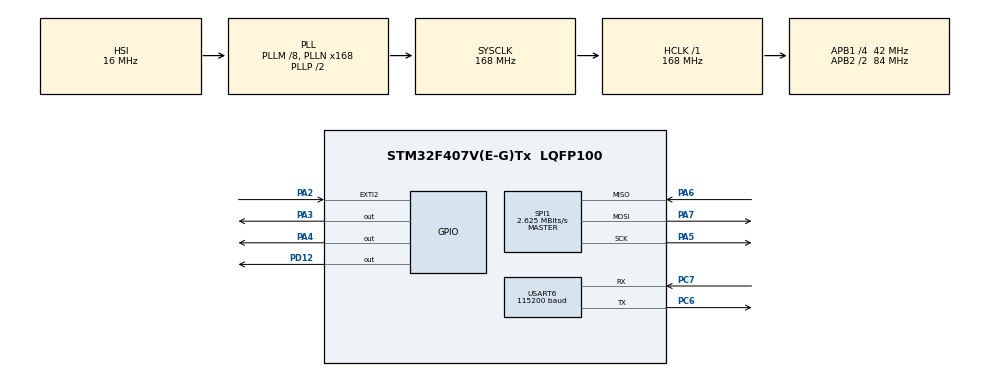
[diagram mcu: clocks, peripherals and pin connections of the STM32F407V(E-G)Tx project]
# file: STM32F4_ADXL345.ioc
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IWDG.Prescaler=IWDG_PRESCALER_128
Mcu.Family=STM32F4
Mcu.Name=STM32F407V(E-G)Tx
Mcu.Package=LQFP100
NVIC.EXTI2_IRQn=true\:0\:0\:false\:false\:true\:true\:true
NVIC.PriorityGroup=NVIC_PRIORITYGROUP_4
PA2.GPIO_PuPd=GPIO_PULLUP
PA2.Signal=GPXTI2
PA3.GPIO_PuPd=GPIO_PULLUP
PA3.Signal=GPIO_Output
PA4.GPIO_PuPd=GPIO_PULLUP
PA4.Signal=GPIO_Output
PA5.GPIO_PuPd=GPIO_PULLUP
PA5.Mode=Full_Duplex_Master
PA5.Signal=SPI1_SCK
PA6.GPIO_PuPd=GPIO_PULLUP
PA6.Mode=Full_Duplex_Master
PA6.Signal=SPI1_MISO
PA7.GPIO_PuPd=GPIO_PULLUP
PA7.Mode=Full_Duplex_Master
PA7.Signal=SPI1_MOSI
PC6.Mode=Asynchronous
PC6.Signal=USART6_TX
PC7.Mode=Asynchronous
PC7.Signal=USART6_RX
PD12.GPIO_PuPd=GPIO_PULLUP
PD12.Signal=GPIO_Output
ProjectManager.HeapSize=0x200
ProjectManager.StackSize=0x400
ProjectManager.TargetToolchain=STM32CubeIDE
RCC.48MHZClocksFreq_Value=84000000
RCC.AHBFreq_Value=168000000
RCC.APB1CLKDivider=RCC_HCLK_DIV4
RCC.APB1Freq_Value=42000000
RCC.APB1TimFreq_Value=84000000
RCC.APB2CLKDivider=RCC_HCLK_DIV2
RCC.APB2Freq_Value=84000000
RCC.APB2TimFreq_Value=168000000
RCC.CortexFreq_Value=168000000
RCC.HCLKFreq_Value=168000000
RCC.HSE_VALUE=25000000
RCC.HSI_VALUE=16000000
RCC.LSE_VALUE=32768
RCC.PLLM=8
RCC.PLLN=168
RCC.SYSCLKFreq_VALUE=168000000
RCC.SYSCLKSource=RCC_SYSCLKSOURCE_PLLCLK
RCC.VCOOutputFreq_Value=336000000
SPI1.BaudRatePrescaler=SPI_BAUDRATEPRESCALER_32
SPI1.CLKPhase=SPI_PHASE_2EDGE
SPI1.CLKPolarity=SPI_POLARITY_HIGH
SPI1.CalculateBaudRate=2.625 MBits/s
SPI1.Direction=SPI_DIRECTION_2LINES
SPI1.Mode=SPI_MODE_MASTER
SPI1.VirtualType=VM_MASTER
USART6.BaudRate=115200
USART6.VirtualMode=VM_ASYNC
VP_IWDG_VS_IWDG.Mode=IWDG_Activate
board=custom

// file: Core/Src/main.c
/* USER CODE BEGIN Header */
/**
  ******************************************************************************
  * @file           : main.c
  * @brief          : Main program body
  ******************************************************************************
  * @attention
  *
  * <h2><center>&copy; Copyright (c) 2020 STMicroelectronics.
  * All rights reserved.</center></h2>
  *
  * This software component is licensed by ST under BSD 3-Clause license,
  * the "License"; You may not use this file except in compliance with the
  * License. You may obtain a copy of the License at:
  *                        opensource.org/licenses/BSD-3-Clause
  *
  ******************************************************************************
  */
/* USER CODE END Header */

#include "main.h"

/* USER CODE BEGIN Includes */
#include "ADXL.h"
#include "arm_const_structs.h"
#include "arm_math.h"
#include "Calculate_statistic.h"
#include "BLE_USART.h"
/* USER CODE END Includes */

/* USER CODE BEGIN PD */
#define dataLength 4096
#define FFT_Frequency_Scale 3200/(dataLength/2)
/* USER CODE END PD */

IWDG_HandleTypeDef hiwdg;

SPI_HandleTypeDef hspi1;

UART_HandleTypeDef huart6;

/* USER CODE BEGIN PV */

typedef struct FFTInstance
{
	float32_t bufferforFFT[dataLength];
	float32_t bufferforTimeSV[dataLength/2];
	uint16_t data0;
	uint16_t data1;
	int16_t acceleration;
	float32_t accelerationfloat;

}fftInstance;

fftInstance XfftInstance;
fftInstance YfftInstance;
fftInstance ZfftInstance;

uint8_t ADXLid = 0;

uint8_t data[6]={0,0,0,0,0,0};

GPIO_PinState pin3status;

int16_t sampleIndex = 0;
int16_t sampleCount = 0;
int16_t whilesampleCount = 0;

uint8_t dataReady = 0;

uint32_t ifftFlag = 0;
uint32_t doBitReverse = 1;
float32_t testOutput[dataLength/2];
int32_t fftSize = 2048;
float32_t maxValue = 0;
uint32_t testIndex = 0;

float32_t *ZstatisticDataSet = ZfftInstance.bufferforTimeSV;
float32_t *XstatisticDataSet = XfftInstance.bufferforTimeSV;
float32_t *YstatisticDataSet = YfftInstance.bufferforTimeSV;

// Bluetooth structure
USART_BLE USARTBLE;

/* USER CODE END PV */

void SystemClock_Config(void);
static void MX_GPIO_Init(void);
static void MX_SPI1_Init(void);
static void MX_USART6_UART_Init(void);
static void MX_IWDG_Init(void);
/* USER CODE BEGIN PFP */

typedef enum {true,false} dataReadyFlag;
/* USER CODE END PFP */

int main(void)
{

  /* MCU Configuration--------------------------------------------------------*/

  /* Reset of all peripherals, Initializes the Flash interface and the Systick. */
  HAL_Init();

  /* Configure the system clock */
  SystemClock_Config();

  /* Initialize all configured peripherals */
  MX_GPIO_Init();
  MX_SPI1_Init();
  MX_USART6_UART_Init();
  MX_IWDG_Init();
  /* USER CODE BEGIN 2 */
  delay_init(168);

  ADXL_InitTypeDef adxl_config;
  adxl_config.Range = RANGE_16G;
  adxl_config.Resolution = RESOLUTION_FULL;
  adxl_config.AutoSleep = AUTOSLEEPOFF;
  adxl_config.LPMode = LPMODE_LOWPOWER;
  adxl_config.Rate = BWRATE_3200;
  adxl_config.SPIMode = SPIMODE_4WIRE;
  adxl_config.IntMode = INT_ACTIVEHIGH;

  adxlStatus InitStatus = ADXL_Init(&adxl_config, &ADXLid);
  if(ADXLid == 0xE5)InitStatus = ADXL_OK;
  if(InitStatus == ADXL_OK)
  {
	  __NOP();

  }

  ADXL_Measure(ON);
  writeRegister(INT_MAP, 0x10);
  writeRegister(INT_ENABLE, 0x80);

  /* USER CODE END 2 */

  /* Infinite loop */
  while (1)
  {

    /* USER CODE BEGIN 3 */
    ADXL_IntProto();
    readRegister(DATA0,data,6);
    if(dataReady == true)
    {

    	readRegister(DATA0,data,6);
    	XfftInstance.data0 = data[0];
    	XfftInstance.data1 = data[1];
    	YfftInstance.data0 = data[2];
    	YfftInstance.data1 = data[3];
    	ZfftInstance.data0 = data[4];
    	ZfftInstance.data1 = data[5];
    	XfftInstance.acceleration = ((uint8_t)XfftInstance.data1<<8)|(uint8_t)XfftInstance.data0;
    	YfftInstance.acceleration = ((uint8_t)YfftInstance.data1<<8)|(uint8_t)YfftInstance.data0;
    	ZfftInstance.acceleration = ((uint8_t)ZfftInstance.data1<<8)|(uint8_t)ZfftInstance.data0;

    	//3.9 is scale of LSB(one bit) mg, 1000 is scale to g
    	XfftInstance.accelerationfloat = (float)XfftInstance.acceleration * 3.9 / 1000;
    	YfftInstance.accelerationfloat = (float)YfftInstance.acceleration  * 3.9 / 1000;
    	ZfftInstance.accelerationfloat = (float)ZfftInstance.acceleration  * 3.9 / 1000;

    	// move X axis data to buffer
    	XfftInstance.bufferforFFT[sampleIndex * 2] = XfftInstance.accelerationfloat;
    	XfftInstance.bufferforFFT[sampleIndex * 2+1] = 0;
    	XfftInstance.bufferforTimeSV[sampleIndex] = XfftInstance.accelerationfloat;

    	// move Y axis data to buffer
    	YfftInstance.bufferforFFT[sampleIndex * 2] = YfftInstance.accelerationfloat;
    	YfftInstance.bufferforFFT[sampleIndex * 2+1] = 0;
    	YfftInstance.bufferforTimeSV[sampleIndex] = YfftInstance.accelerationfloat;

    	// move Z axis data to buffer
    	ZfftInstance.bufferforFFT[sampleIndex * 2] = ZfftInstance.accelerationfloat;
    	ZfftInstance.bufferforFFT[sampleIndex * 2+1] = 0;
    	ZfftInstance.bufferforTimeSV[sampleIndex] = ZfftInstance.accelerationfloat;

		sampleIndex++;
    	if(sampleIndex == dataLength/2)
		{
    		HAL_GPIO_WritePin(GPIOD, GPIO_PIN_12, GPIO_PIN_SET);
    		//Calculate Z axis statistic
    		Calculate_FFT_RMS(ZfftInstance.bufferforFFT, testOutput, fftSize, &Zstatistic_value);
			Calculate_All_statisitc(ZstatisticDataSet, dataLength/2, &Zstatistic_value);

			//Calculate X axis statistic
    		Calculate_FFT_RMS(XfftInstance.bufferforFFT, testOutput, fftSize, &Xstatistic_value);
			Calculate_All_statisitc(XstatisticDataSet, dataLength/2, &Xstatistic_value);

			//Calculate Y axis statistic
    		Calculate_FFT_RMS(YfftInstance.bufferforFFT , testOutput, fftSize, &Ystatistic_value);
			Calculate_All_statisitc(YstatisticDataSet, dataLength/2, &Ystatistic_value);

			//Data transmission by uart
    		sampleIndex = 0;
    		USARTBLE.sendflag =1;
    		BLE_USART(&huart6, &Zstatistic_value);
    		HAL_GPIO_WritePin(GPIOD, GPIO_PIN_12, GPIO_PIN_RESET);
    		HAL_IWDG_Refresh(&hiwdg);
		}
    	dataReady = false;

    }

    //__NOP();
	  //ADXL_getAccel(data, OUTPUT_FLOAT);
  }
  /* USER CODE END 3 */
}

void SystemClock_Config(void)
{
  RCC_OscInitTypeDef RCC_OscInitStruct = {0};
  RCC_ClkInitTypeDef RCC_ClkInitStruct = {0};

  /** Configure the main internal regulator output voltage
  */
  __HAL_RCC_PWR_CLK_ENABLE();
  __HAL_PWR_VOLTAGESCALING_CONFIG(PWR_REGULATOR_VOLTAGE_SCALE1);
  /** Initializes the CPU, AHB and APB busses clocks
  */
  RCC_OscInitStruct.OscillatorType = RCC_OSCILLATORTYPE_HSI|RCC_OSCILLATORTYPE_LSI;
  RCC_OscInitStruct.HSIState = RCC_HSI_ON;
  RCC_OscInitStruct.HSICalibrationValue = RCC_HSICALIBRATION_DEFAULT;
  RCC_OscInitStruct.LSIState = RCC_LSI_ON;
  RCC_OscInitStruct.PLL.PLLState = RCC_PLL_ON;
  RCC_OscInitStruct.PLL.PLLSource = RCC_PLLSOURCE_HSI;
  RCC_OscInitStruct.PLL.PLLM = 8;
  RCC_OscInitStruct.PLL.PLLN = 168;
  RCC_OscInitStruct.PLL.PLLP = RCC_PLLP_DIV2;
  RCC_OscInitStruct.PLL.PLLQ = 4;
  if (HAL_RCC_OscConfig(&RCC_OscInitStruct) != HAL_OK)
  {
    Error_Handler();
  }
  /** Initializes the CPU, AHB and APB busses clocks
  */
  RCC_ClkInitStruct.ClockType = RCC_CLOCKTYPE_HCLK|RCC_CLOCKTYPE_SYSCLK
                              |RCC_CLOCKTYPE_PCLK1|RCC_CLOCKTYPE_PCLK2;
  RCC_ClkInitStruct.SYSCLKSource = RCC_SYSCLKSOURCE_PLLCLK;
  RCC_ClkInitStruct.AHBCLKDivider = RCC_SYSCLK_DIV1;
  RCC_ClkInitStruct.APB1CLKDivider = RCC_HCLK_DIV4;
  RCC_ClkInitStruct.APB2CLKDivider = RCC_HCLK_DIV2;

  if (HAL_RCC_ClockConfig(&RCC_ClkInitStruct, FLASH_LATENCY_5) != HAL_OK)
  {
    Error_Handler();
  }
}

static void MX_IWDG_Init(void)
{

  hiwdg.Instance = IWDG;
  hiwdg.Init.Prescaler = IWDG_PRESCALER_128;
  hiwdg.Init.Reload = 4095;
  if (HAL_IWDG_Init(&hiwdg) != HAL_OK)
  {
    Error_Handler();
  }

}

static void MX_SPI1_Init(void)
{

  /* SPI1 parameter configuration*/
  hspi1.Instance = SPI1;
  hspi1.Init.Mode = SPI_MODE_MASTER;
  hspi1.Init.Direction = SPI_DIRECTION_2LINES;
  hspi1.Init.DataSize = SPI_DATASIZE_8BIT;
  hspi1.Init.CLKPolarity = SPI_POLARITY_HIGH;
  hspi1.Init.CLKPhase = SPI_PHASE_2EDGE;
  hspi1.Init.NSS = SPI_NSS_SOFT;
  hspi1.Init.BaudRatePrescaler = SPI_BAUDRATEPRESCALER_32;
  hspi1.Init.FirstBit = SPI_FIRSTBIT_MSB;
  hspi1.Init.TIMode = SPI_TIMODE_DISABLE;
  hspi1.Init.CRCCalculation = SPI_CRCCALCULATION_DISABLE;
  hspi1.Init.CRCPolynomial = 10;
  if (HAL_SPI_Init(&hspi1) != HAL_OK)
  {
    Error_Handler();
  }

}

static void MX_USART6_UART_Init(void)
{

  huart6.Instance = USART6;
  huart6.Init.BaudRate = 115200;
  huart6.Init.WordLength = UART_WORDLENGTH_8B;
  huart6.Init.StopBits = UART_STOPBITS_1;
  huart6.Init.Parity = UART_PARITY_NONE;
  huart6.Init.Mode = UART_MODE_TX_RX;
  huart6.Init.HwFlowCtl = UART_HWCONTROL_NONE;
  huart6.Init.OverSampling = UART_OVERSAMPLING_16;
  if (HAL_UART_Init(&huart6) != HAL_OK)
  {
    Error_Handler();
  }

}

static void MX_GPIO_Init(void)
{
  GPIO_InitTypeDef GPIO_InitStruct = {0};

  /* GPIO Ports Clock Enable */
  __HAL_RCC_GPIOA_CLK_ENABLE();
  __HAL_RCC_GPIOD_CLK_ENABLE();
  __HAL_RCC_GPIOC_CLK_ENABLE();

  /*Configure GPIO pin Output Level */
  HAL_GPIO_WritePin(GPIOA, GPIO_PIN_3|GPIO_PIN_4, GPIO_PIN_RESET);

  /*Configure GPIO pin Output Level */
  HAL_GPIO_WritePin(GPIOD, GPIO_PIN_12, GPIO_PIN_RESET);

  /*Configure GPIO pin : PA2 */
  GPIO_InitStruct.Pin = GPIO_PIN_2;
  GPIO_InitStruct.Mode = GPIO_MODE_IT_RISING;
  GPIO_InitStruct.Pull = GPIO_PULLUP;
  HAL_GPIO_Init(GPIOA, &GPIO_InitStruct);

  /*Configure GPIO pins : PA3 PA4 */
  GPIO_InitStruct.Pin = GPIO_PIN_3|GPIO_PIN_4;
  GPIO_InitStruct.Mode = GPIO_MODE_OUTPUT_PP;
  GPIO_InitStruct.Pull = GPIO_PULLUP;
  GPIO_InitStruct.Speed = GPIO_SPEED_FREQ_LOW;
  HAL_GPIO_Init(GPIOA, &GPIO_InitStruct);

  /*Configure GPIO pin : PD12 */
  GPIO_InitStruct.Pin = GPIO_PIN_12;
  GPIO_InitStruct.Mode = GPIO_MODE_OUTPUT_PP;
  GPIO_InitStruct.Pull = GPIO_PULLUP;
  GPIO_InitStruct.Speed = GPIO_SPEED_FREQ_LOW;
  HAL_GPIO_Init(GPIOD, &GPIO_InitStruct);

  /* EXTI interrupt init*/
  HAL_NVIC_SetPriority(EXTI2_IRQn, 0, 0);
  HAL_NVIC_EnableIRQ(EXTI2_IRQn);

}

/* USER CODE BEGIN 4 */
void HAL_GPIO_EXTI_Callback(uint16_t GPIO_Pin)
{

	if(GPIO_Pin == GPIO_PIN_2)
	{

		dataReady = true;
		sampleCount++;
		if(sampleCount > 2048)
		{
			sampleCount = 0;
		}

	}
}
/* USER CODE END 4 */

void Error_Handler(void)
{
}

/************************ (C) COPYRIGHT STMicroelectronics *****END OF FILE****/
